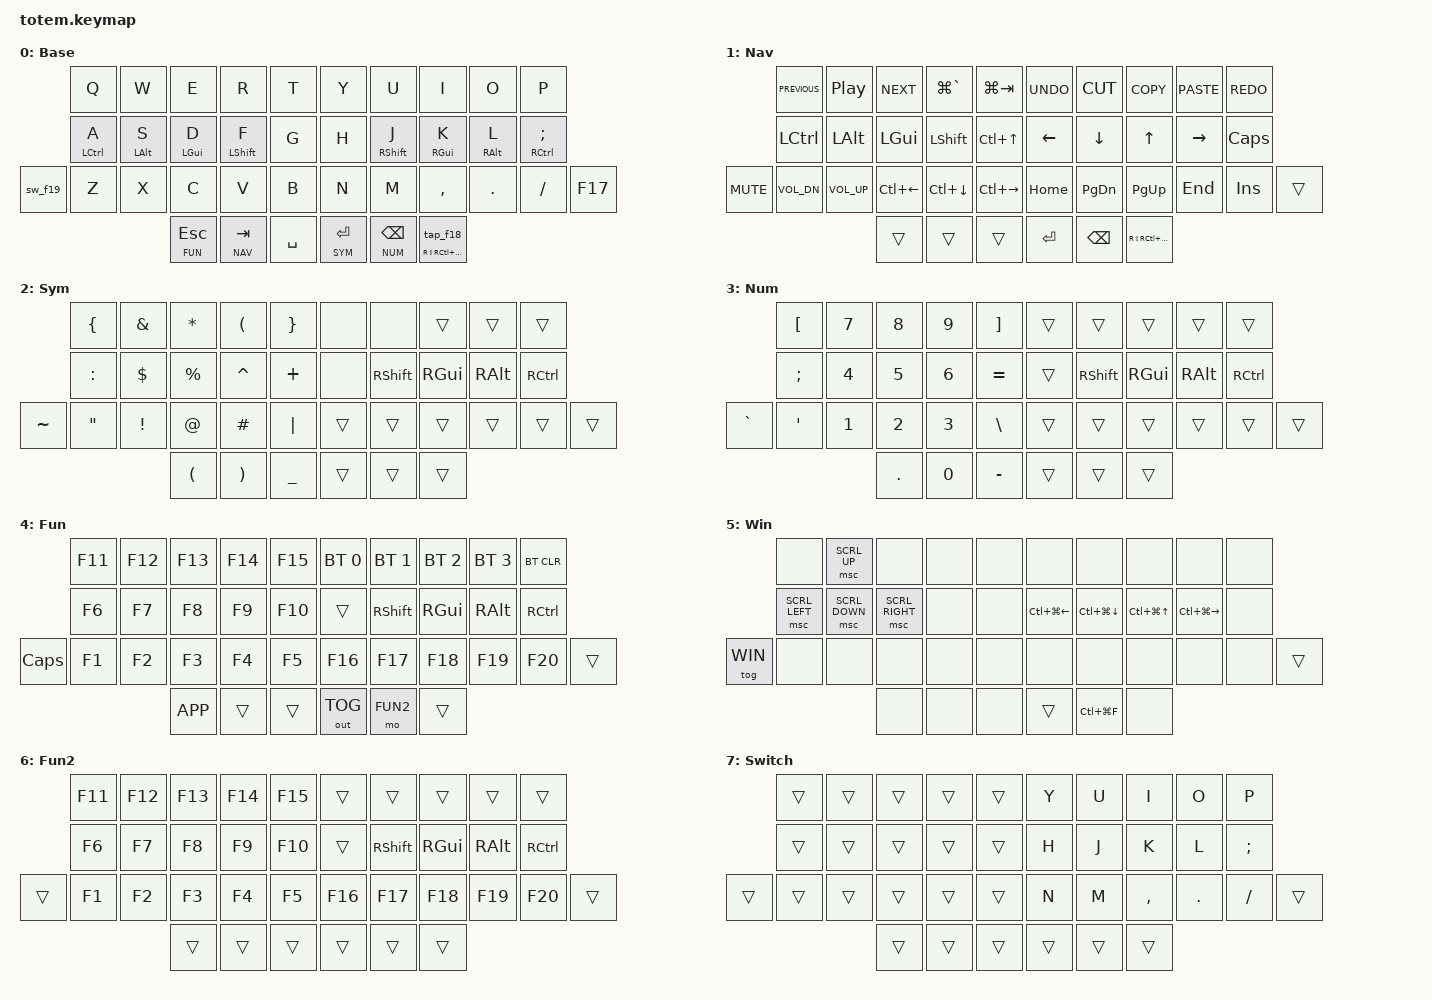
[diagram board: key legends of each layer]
#include <behaviors.dtsi>
#include <dt-bindings/zmk/keys.h>
#include <dt-bindings/zmk/bt.h>
#include <dt-bindings/zmk/outputs.h>

// Increase scroll speed (default is usually 10)
#define ZMK_MOUSE_DEFAULT_SCRL_VAL 35
#include <dt-bindings/zmk/mouse.h>

#define BASE 0
#define NAV  1
#define SYM  2
#define NUM  3
#define FUN  4
#define WIN  5
#define FUN2 6
#define SWCH 7

#define KEYS_L  0 1 2 3 4 10 11 12 13 14 20 21 22 23 24 25
#define KEYS_R  5 6 7 8 9 15 16 17 18 19 26 27 28 29 30 31
#define THUMB_L 32 33 34
#define THUMB_R 35 36 37
// Left thumb cluster minus SPACE (34) — excluded from hold triggers so
// finishing a right-hand word with a space doesn't risk firing a hold
#define THUMB_L_MOD 32 33

/ {
    /* combos { */
    /*     compatible = "zmk,combos"; */
    /*     combo_caps { */
    /*         timeout-ms = <50>; */
    /*         key-positions = <12 13>; */
    /*         bindings = <&kp F19>; */
    /*         layers = <BASE>; */
    /*     }; */
    /*     combo_dqt { */
    /*         timeout-ms = <50>; */
    /*         key-positions = <16 17>; */
    /*         bindings = <&kp CAPS>; */
    /*         layers = <BASE>; */
    /*     }; */
    /* }; */

    macros {
        tap_f18: tap_f18 {
            compatible = "zmk,behavior-macro";
            #binding-cells = <0>;
            tap-ms = <30>;
            bindings = <&kp F18>;
        };
        // Window switcher: hold F19 for Hammerspoon's app_search and, while
        // it's held, the Switch layer (plain right-hand letters). Without the
        // layer, home-row mods hold J/K/L/; back until release, so letting go
        // of F19 first closes the switcher before the hint key arrives.
        sw_f19: sw_f19 {
            compatible = "zmk,behavior-macro";
            #binding-cells = <0>;
            wait-ms = <0>;
            bindings
                = <&macro_press &mo SWCH &kp F19>
                , <&macro_pause_for_release>
                , <&macro_release &kp F19 &mo SWCH>
                ;
        };
    };

    behaviors {
        // Home row mods (Ctrl, Alt, GUI) — slower, safer
        hml: hrm_left {
            compatible = "zmk,behavior-hold-tap";
            #binding-cells = <2>;
            bindings = <&kp>, <&kp>;
            flavor = "balanced";
            tapping-term-ms = <280>;
            quick-tap-ms = <175>;
            require-prior-idle-ms = <225>;
            hold-trigger-key-positions = <KEYS_R THUMB_R>;
            hold-trigger-on-release;
        };
        hmr: hrm_right {
            compatible = "zmk,behavior-hold-tap";
            #binding-cells = <2>;
            bindings = <&kp>, <&kp>;
            flavor = "balanced";
            tapping-term-ms = <280>;
            quick-tap-ms = <175>;
            require-prior-idle-ms = <225>;
            hold-trigger-key-positions = <KEYS_L THUMB_L_MOD>;
            hold-trigger-on-release;
        };
        // Home row shift (F/J) — faster, snappier
        hmls: hrm_left_shift {
            compatible = "zmk,behavior-hold-tap";
            #binding-cells = <2>;
            bindings = <&kp>, <&kp>;
            flavor = "balanced";
            tapping-term-ms = <200>;
            quick-tap-ms = <175>;
            require-prior-idle-ms = <225>;
            hold-trigger-key-positions = <KEYS_R THUMB_R>;
            hold-trigger-on-release;
        };
        hmrs: hrm_right_shift {
            compatible = "zmk,behavior-hold-tap";
            #binding-cells = <2>;
            bindings = <&kp>, <&kp>;
            flavor = "balanced";
            tapping-term-ms = <200>;
            quick-tap-ms = <175>;
            require-prior-idle-ms = <225>;
            hold-trigger-key-positions = <KEYS_L THUMB_L_MOD>;
            hold-trigger-on-release;
        };
        // Positional thumb modifiers — left thumb modifies right-hand keypresses
        lt_thumb_l: lt_thumb_left {
            compatible = "zmk,behavior-hold-tap";
            #binding-cells = <2>;
            bindings = <&mo>, <&kp>;
            flavor = "balanced";
            tapping-term-ms = <180>;
            quick-tap-ms = <150>;
            hold-trigger-key-positions = <KEYS_R THUMB_R>;
            hold-trigger-on-release;
        };
        // Positional thumb modifiers — right thumb modifies left-hand keypresses
        lt_thumb_r: lt_thumb_right {
            compatible = "zmk,behavior-hold-tap";
            #binding-cells = <2>;
            bindings = <&mo>, <&kp>;
            flavor = "balanced";
            tapping-term-ms = <180>;
            quick-tap-ms = <150>;
            hold-trigger-key-positions = <KEYS_L THUMB_L>;
            hold-trigger-on-release;
        };
        mt_thumb_r: mt_thumb_right {
            compatible = "zmk,behavior-hold-tap";
            #binding-cells = <2>;
            bindings = <&kp>, <&kp>;
            flavor = "balanced";
            tapping-term-ms = <280>;
            quick-tap-ms = <150>;
            hold-trigger-key-positions = <KEYS_L THUMB_L>;
            hold-trigger-on-release;
        };
        sk_thumb: sk_thumb {
            compatible = "zmk,behavior-hold-tap";
            #binding-cells = <2>;
            bindings = <&mo>, <&sk>;
            flavor = "balanced";
            tapping-term-ms = <180>;
            quick-tap-ms = <150>;
        };
        mt_thumb_macro: mt_thumb_macro {
            compatible = "zmk,behavior-hold-tap";
            #binding-cells = <2>;
            bindings = <&kp>, <&tap_f18>;
            flavor = "balanced";
            tapping-term-ms = <280>;
            quick-tap-ms = <150>;
            hold-trigger-key-positions = <KEYS_L THUMB_L>;
            hold-trigger-on-release;
        };
    };

    keymap {
        compatible = "zmk,keymap";

        base_layer {
            display-name = "Base";
            bindings = <
//                            ┌─────────────────────────┬─────────────────────────┬─────────────────────────┬─────────────────────────┬─────────────────────────┐   ┌─────────────────────────┬─────────────────────────┬─────────────────────────┬─────────────────────────┬─────────────────────────┐
                              &kp Q                     &kp W                     &kp E                     &kp R                     &kp T                         &kp Y                     &kp U                     &kp I                     &kp O                     &kp P
//                            ├─────────────────────────┼─────────────────────────┼─────────────────────────┼─────────────────────────┼─────────────────────────┤   ├─────────────────────────┼─────────────────────────┼─────────────────────────┼─────────────────────────┼─────────────────────────┤
                              &hml LCTRL A              &hml LALT S               &hml LGUI D               &hmls LSHFT F             &kp G                         &kp H                     &hmrs RSHFT J             &hmr RGUI K               &hmr RALT L               &hmr RCTRL SEMI
//  ┌─────────────────────────┼─────────────────────────┼─────────────────────────┼─────────────────────────┼─────────────────────────┼─────────────────────────┐   ┼─────────────────────────┼─────────────────────────┼─────────────────────────┼─────────────────────────┼─────────────────────────┼─────────────────────────┤
    &sw_f19                   &kp Z                     &kp X                     &kp C                     &kp V                     &kp B                         &kp N                     &kp M                     &kp COMMA                 &kp DOT                   &kp FSLH                  &kp F17
//  └─────────────────────────┴─────────────────────────┴─────────────────────────┼─────────────────────────┼─────────────────────────┼─────────────────────────┤   ├─────────────────────────┼─────────────────────────┼─────────────────────────┼─────────────────────────┴─────────────────────────┴─────────────────────────┘
                                                                                  &lt_thumb_l FUN ESC       &lt_thumb_l NAV TAB       &kp SPACE                     &lt_thumb_r SYM RET       &lt_thumb_r NUM BSPC     &mt_thumb_macro RS(RC(RA(RGUI))) 0
//                                                                                └─────────────────────────┴─────────────────────────┴─────────────────────────┘   └─────────────────────────┴─────────────────────────┴─────────────────────────┘
            >;
        };

        nav_layer {
            display-name = "Nav";
            bindings = <
//                            ┌─────────────────────────┬─────────────────────────┬─────────────────────────┬─────────────────────────┬─────────────────────────┐   ┌─────────────────────────┬─────────────────────────┬─────────────────────────┬─────────────────────────┬─────────────────────────┐
                              &kp C_PREVIOUS            &kp C_PP                  &kp C_NEXT                &kp LG(GRAVE)             &kp LG(TAB)                   &kp K_UNDO                &kp K_CUT                 &kp K_COPY                &kp K_PASTE               &kp K_REDO
//                            ├─────────────────────────┼─────────────────────────┼─────────────────────────┼─────────────────────────┼─────────────────────────┤   ├─────────────────────────┼─────────────────────────┼─────────────────────────┼─────────────────────────┼─────────────────────────┤
                              &kp LCTRL                 &kp LALT                  &kp LGUI                  &kp LSHFT                 &kp LC(UP)                    &kp LEFT                  &kp DOWN                  &kp UP                    &kp RIGHT                 &kp CAPS
//  ┌─────────────────────────┼─────────────────────────┼─────────────────────────┼─────────────────────────┼─────────────────────────┼─────────────────────────┐   ┼─────────────────────────┼─────────────────────────┼─────────────────────────┼─────────────────────────┼─────────────────────────┼─────────────────────────┤
    &kp C_MUTE                &kp C_VOL_DN              &kp C_VOL_UP              &kp LC(LEFT)              &kp LC(DOWN)              &kp LC(RIGHT)                 &kp HOME                  &kp PG_DN                 &kp PG_UP                 &kp END                   &kp INS                   &trans
//  └─────────────────────────┴─────────────────────────┴─────────────────────────┼─────────────────────────┼─────────────────────────┼─────────────────────────┤   ├─────────────────────────┼─────────────────────────┼─────────────────────────┼─────────────────────────┴─────────────────────────┴─────────────────────────┘
                                                                                  &trans                    &trans                    &trans                        &kp RET                   &kp BSPC                  &kp RS(RC(RA(RGUI)))
//                                                                                └─────────────────────────┴─────────────────────────┴─────────────────────────┘   └─────────────────────────┴─────────────────────────┴─────────────────────────┘
            >;
        };

        sym_layer {
            display-name = "Sym";
            bindings = <
//                            ┌─────────────────────────┬─────────────────────────┬─────────────────────────┬─────────────────────────┬─────────────────────────┐   ┌─────────────────────────┬─────────────────────────┬─────────────────────────┬─────────────────────────┬─────────────────────────┐
                              &kp LBRC                  &kp AMPS                  &kp STAR                  &kp LPAR                  &kp RBRC                      &none                     &none                     &trans                    &trans                    &trans
//                            ├─────────────────────────┼─────────────────────────┼─────────────────────────┼─────────────────────────┼─────────────────────────┤   ├─────────────────────────┼─────────────────────────┼─────────────────────────┼─────────────────────────┼─────────────────────────┤
                              &kp COLON                 &kp DLLR                  &kp PRCNT                 &kp CARET                 &kp PLUS                      &none                     &kp RSHIFT                &kp RGUI                  &kp RALT                  &kp RCTRL
//  ┌─────────────────────────┼─────────────────────────┼─────────────────────────┼─────────────────────────┼─────────────────────────┼─────────────────────────┐   ┼─────────────────────────┼─────────────────────────┼─────────────────────────┼─────────────────────────┼─────────────────────────┼─────────────────────────┤
    &kp TILDE                 &kp DQT                   &kp EXCL                  &kp AT                    &kp HASH                  &kp PIPE                      &trans                    &trans                    &trans                    &trans                    &trans                    &trans
//  └─────────────────────────┴─────────────────────────┴─────────────────────────┼─────────────────────────┼─────────────────────────┼─────────────────────────┤   ├─────────────────────────┼─────────────────────────┼─────────────────────────┼─────────────────────────┴─────────────────────────┴─────────────────────────┘
                                                                                  &kp LPAR                  &kp RPAR                  &kp UNDER                     &trans                    &trans                    &trans
//                                                                                └─────────────────────────┴─────────────────────────┴─────────────────────────┘   └─────────────────────────┴─────────────────────────┴─────────────────────────┘
            >;
        };

        num_layer {
            display-name = "Num";
            bindings = <
//                            ┌─────────────────────────┬─────────────────────────┬─────────────────────────┬─────────────────────────┬─────────────────────────┐   ┌─────────────────────────┬─────────────────────────┬─────────────────────────┬─────────────────────────┬─────────────────────────┐
                              &kp LBKT                  &kp N7                    &kp N8                    &kp N9                    &kp RBKT                      &trans                    &trans                    &trans                    &trans                    &trans
//                            ├─────────────────────────┼─────────────────────────┼─────────────────────────┼─────────────────────────┼─────────────────────────┤   ├─────────────────────────┼─────────────────────────┼─────────────────────────┼─────────────────────────┼─────────────────────────┤
                              &kp SEMI                  &kp N4                    &kp N5                    &kp N6                    &kp EQUAL                     &trans                    &kp RSHFT                 &kp RGUI                  &kp RALT                  &kp RCTRL
//  ┌─────────────────────────┼─────────────────────────┼─────────────────────────┼─────────────────────────┼─────────────────────────┼─────────────────────────┐   ┼─────────────────────────┼─────────────────────────┼─────────────────────────┼─────────────────────────┼─────────────────────────┼─────────────────────────┤
    &kp GRAVE                 &kp SQT                   &kp N1                    &kp N2                    &kp N3                    &kp BSLH                      &trans                    &trans                    &trans                    &trans                    &trans                    &trans
//  └─────────────────────────┴─────────────────────────┴─────────────────────────┼─────────────────────────┼─────────────────────────┼─────────────────────────┤   ├─────────────────────────┼─────────────────────────┼─────────────────────────┼─────────────────────────┴─────────────────────────┴─────────────────────────┘
                                                                                  &kp DOT                   &kp N0                    &kp MINUS                     &trans                    &trans                    &trans
//                                                                                └─────────────────────────┴─────────────────────────┴─────────────────────────┘   └─────────────────────────┴─────────────────────────┴─────────────────────────┘
            >;
        };

        fun_layer {
            display-name = "Fun";
            bindings = <
//                            ┌─────────────────────────┬─────────────────────────┬─────────────────────────┬─────────────────────────┬─────────────────────────┐   ┌─────────────────────────┬─────────────────────────┬─────────────────────────┬─────────────────────────┬─────────────────────────┐
                              &kp F11                   &kp F12                   &kp F13                   &kp F14                   &kp F15                       &bt BT_SEL 0              &bt BT_SEL 1              &bt BT_SEL 2              &bt BT_SEL 3              &bt BT_CLR
//                            ├─────────────────────────┼─────────────────────────┼─────────────────────────┼─────────────────────────┼─────────────────────────┤   ├─────────────────────────┼─────────────────────────┼─────────────────────────┼─────────────────────────┼─────────────────────────┤
                              &kp F6                    &kp F7                    &kp F8                    &kp F9                    &kp F10                       &trans                    &kp RSHFT                 &kp RGUI                  &kp RALT                  &kp RCTRL
//  ┌─────────────────────────┼─────────────────────────┼─────────────────────────┼─────────────────────────┼─────────────────────────┼─────────────────────────┐   ┼─────────────────────────┼─────────────────────────┼─────────────────────────┼─────────────────────────┼─────────────────────────┼─────────────────────────┤
    &kp CAPS                 &kp F1                    &kp F2                    &kp F3                    &kp F4                    &kp F5                        &kp F16                   &kp F17                   &kp F18                   &kp F19                   &kp F20                   &trans
//  └─────────────────────────┴─────────────────────────┴─────────────────────────┼─────────────────────────┼─────────────────────────┼─────────────────────────┤   ├─────────────────────────┼─────────────────────────┼─────────────────────────┼─────────────────────────┴─────────────────────────┴─────────────────────────┘
                                                                                  &kp K_APP                 &trans                    &trans                        &out OUT_TOG              &mo FUN2                  &trans
//                                                                                └─────────────────────────┴─────────────────────────┴─────────────────────────┘   └─────────────────────────┴─────────────────────────┴─────────────────────────┘
            >;
        };

        win_layer {
            display-name = "Win";
            bindings = <
//                            ┌─────────────────────────┬─────────────────────────┬─────────────────────────┬─────────────────────────┬─────────────────────────┐   ┌─────────────────────────┬─────────────────────────┬─────────────────────────┬─────────────────────────┬─────────────────────────┐
                              &none                     &msc SCRL_UP              &none                     &none                     &none                         &none                     &none                     &none                     &none                     &none
//                            ├─────────────────────────┼─────────────────────────┼─────────────────────────┼─────────────────────────┼─────────────────────────┤   ├─────────────────────────┼─────────────────────────┼─────────────────────────┼─────────────────────────┼─────────────────────────┤
                              &msc SCRL_LEFT            &msc SCRL_DOWN            &msc SCRL_RIGHT           &none                     &none                         &kp LC(LG(LEFT))          &kp LC(LG(DOWN))          &kp LC(LG(UP))            &kp LC(LG(RIGHT))         &none
//  ┌─────────────────────────┼─────────────────────────┼─────────────────────────┼─────────────────────────┼─────────────────────────┼─────────────────────────┐   ┼─────────────────────────┼─────────────────────────┼─────────────────────────┼─────────────────────────┼─────────────────────────┼─────────────────────────┤
    &tog WIN                  &none                     &none                     &none                     &none                     &none                         &none                     &none                     &none                     &none                     &none                     &trans
//  └─────────────────────────┴─────────────────────────┴─────────────────────────┼─────────────────────────┼─────────────────────────┼─────────────────────────┤   ├─────────────────────────┼─────────────────────────┼─────────────────────────┼─────────────────────────┴─────────────────────────┴─────────────────────────┘
                                                                                  &none                     &none                     &none                         &trans                    &kp LC(LG(F))             &none
//                                                                                └─────────────────────────┴─────────────────────────┴─────────────────────────┘   └─────────────────────────┴─────────────────────────┴─────────────────────────┘
            >;
        };
        fun2_layer {
            display-name = "Fun2";
            bindings = <
//                            ┌─────────────────────────┬─────────────────────────┬─────────────────────────┬─────────────────────────┬─────────────────────────┐   ┌─────────────────────────┬─────────────────────────┬─────────────────────────┬─────────────────────────┬─────────────────────────┐
                              &kp F11                   &kp F12                   &kp F13                   &kp F14                   &kp F15                       &trans                    &trans                    &trans                    &trans                    &trans
//                            ├─────────────────────────┼─────────────────────────┼─────────────────────────┼─────────────────────────┼─────────────────────────┤   ├─────────────────────────┼─────────────────────────┼─────────────────────────┼─────────────────────────┼─────────────────────────┤
                              &kp F6                    &kp F7                    &kp F8                    &kp F9                    &kp F10                       &trans                    &kp RSHFT                 &kp RGUI                  &kp RALT                  &kp RCTRL
//  ┌─────────────────────────┼─────────────────────────┼─────────────────────────┼─────────────────────────┼─────────────────────────┼─────────────────────────┐   ┼─────────────────────────┼─────────────────────────┼─────────────────────────┼─────────────────────────┼─────────────────────────┼─────────────────────────┤
    &trans                    &kp F1                    &kp F2                    &kp F3                    &kp F4                    &kp F5                        &kp F16                   &kp F17                   &kp F18                   &kp F19                   &kp F20                   &trans
//  └─────────────────────────┴─────────────────────────┴─────────────────────────┼─────────────────────────┼─────────────────────────┼─────────────────────────┤   ├─────────────────────────┼─────────────────────────┼─────────────────────────┼─────────────────────────┴─────────────────────────┴─────────────────────────┘
                                                                                  &trans                    &trans                    &trans                        &trans                    &trans                    &trans
//                                                                                └─────────────────────────┴─────────────────────────┴─────────────────────────┘   └─────────────────────────┴─────────────────────────┴─────────────────────────┘
            >;
        };
        switch_layer {
            display-name = "Switch";
            bindings = <
//                            ┌─────────────────────────┬─────────────────────────┬─────────────────────────┬─────────────────────────┬─────────────────────────┐   ┌─────────────────────────┬─────────────────────────┬─────────────────────────┬─────────────────────────┬─────────────────────────┐
                              &trans                    &trans                    &trans                    &trans                    &trans                        &kp Y                     &kp U                     &kp I                     &kp O                     &kp P
//                            ├─────────────────────────┼─────────────────────────┼─────────────────────────┼─────────────────────────┼─────────────────────────┤   ├─────────────────────────┼─────────────────────────┼─────────────────────────┼─────────────────────────┼─────────────────────────┤
                              &trans                    &trans                    &trans                    &trans                    &trans                        &kp H                     &kp J                     &kp K                     &kp L                     &kp SEMI
//  ┌─────────────────────────┼─────────────────────────┼─────────────────────────┼─────────────────────────┼─────────────────────────┼─────────────────────────┐   ┼─────────────────────────┼─────────────────────────┼─────────────────────────┼─────────────────────────┼─────────────────────────┼─────────────────────────┤
    &trans                    &trans                    &trans                    &trans                    &trans                    &trans                        &kp N                     &kp M                     &kp COMMA                 &kp DOT                   &kp FSLH                  &trans
//  └─────────────────────────┴─────────────────────────┴─────────────────────────┼─────────────────────────┼─────────────────────────┼─────────────────────────┤   ├─────────────────────────┼─────────────────────────┼─────────────────────────┼─────────────────────────┴─────────────────────────┴─────────────────────────┘
                                                                                  &trans                    &trans                    &trans                        &trans                    &trans                    &trans
//                                                                                └─────────────────────────┴─────────────────────────┴─────────────────────────┘   └─────────────────────────┴─────────────────────────┴─────────────────────────┘
            >;
        };
    };
};

// Override mouse scroll behavior to be discrete jumps
&msc {
    acceleration-exponent = <0>;
    time-to-max-speed-ms = <0>;
    delay-ms = <0>;
};

&sk {
    quick-release;
};
